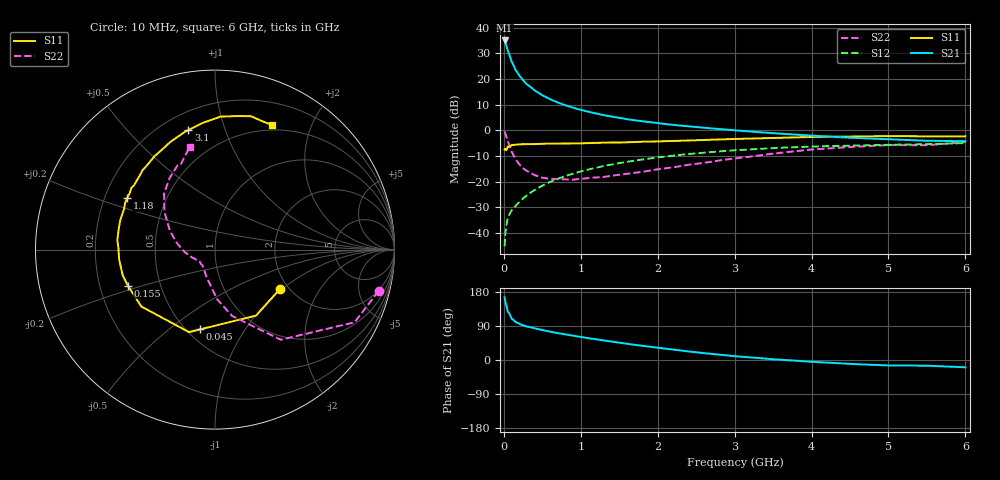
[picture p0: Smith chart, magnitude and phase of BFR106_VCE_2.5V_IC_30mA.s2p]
! Infineon Technologies  Discrete & RF Semiconductors
! BFR106
! VCE =  2.5 V,  IC =  30 mA
! Common Emitter S-Parameters:  Nov 2015
# GHz  S  MA  R  50
!  f  S11  S21  S12  S22
! GHz  MAG  ANG  MAG  ANG  MAG  ANG  MAG  ANG
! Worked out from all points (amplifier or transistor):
!   210 points, 10 MHz to 6 GHz, reference 50 ohm
!   highest |S21| = 35.0 dB at 10 MHz (marker M1)
!   |S21| within 3 dB of that: start of sweep to 41.15 MHz
!   unconditionally stable (mu >= 1): 294.5 MHz to 2.469 GHz; 5.289 GHz to end of sweep
!   at 185 MHz: K = 0.87, MSG = 25.3 dB, |S12| = -28.4 dB
!   at 1.52 GHz: K = 1.06, MAG = 7.2 dB, |S12| = -12.7 dB
!   at 6 GHz: K = 1.01, MAG = -0.1 dB, |S12| = -5.0 dB
!   S11 on the Smith chart (normalised r, x): 10 MHz: 1.80, -0.96; 45 MHz: 0.58, -0.65; 155 MHz: 0.32, -0.18; 1.18 GHz: 0.29, +0.25; 3.1 GHz: 0.30, +0.76; 6 GHz: 0.44, +1.47
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0.01  0.423 -31.3  56.36 165.2  0.0055 80.3  0.9397 -14.2
0.02  0.4332 -58.1  51.69 153.0  0.0099 70.7  0.8769 -27.5
0.045  0.452 -100.5  38.17 133.4  0.0176 58.5  0.6522 -48.2
0.05  0.482 -107.5  36.24 127.9  0.0192 57.2  0.6217 -53.9
0.1  0.5187 -142.3  21.96 109.5  0.0273 54.5  0.382 -75.5
0.15  0.5247 -156.7  15.23 100.5  0.0332 57.5  0.2768 -87.6
0.155  0.5252 -157.5  14.87 100.1  0.0339 57.9  0.2708 -88.1
0.2  0.5338 -164.5  11.7 95.3  0.0401 61.2  0.2177 -94.3
0.26  0.5341 -171.1  9.093 90.6  0.0483 63.4  0.1764 -102.5
0.3  0.5369 -174.0  7.883 88.3  0.0539 65.3  0.1612 -106.8
0.4  0.5379 179.3  5.981 83.3  0.0684 67.0  0.1337 -115.9
0.5  0.5469 174.5  4.802 79.0  0.0829 68.0  0.119 -122.8
0.6  0.548 169.7  4.028 74.8  0.0982 67.9  0.1133 -127.9
0.8  0.5527 162.7  3.067 67.5  0.1279 66.5  0.1101 -138.4
1.02  0.5572 155.0  2.452 60.2  0.1607 64.5  0.1134 -145.8
1.18  0.5673 149.8  2.152 55.1  0.1837 62.4  0.1195 -151.9
1.6  0.5825 137.9  1.645 42.7  0.2425 56.5  0.1419 -164.7
2.02  0.6076 127.1  1.364 31.8  0.2981 50.0  0.1751 -177.5
3.1  0.6822 102.6  0.971 8.6  0.4154 32.8  0.2934 152.5
4.1  0.7433 86.2  0.771 -5.8  0.4867 17.7  0.4307 130.1
5.1  0.7676 73.7  0.658 -14.5  0.5236 5.3  0.5136 113.4
6  0.7637 65.3  0.613 -19.3  0.5624 -4.2  0.589 103.9
